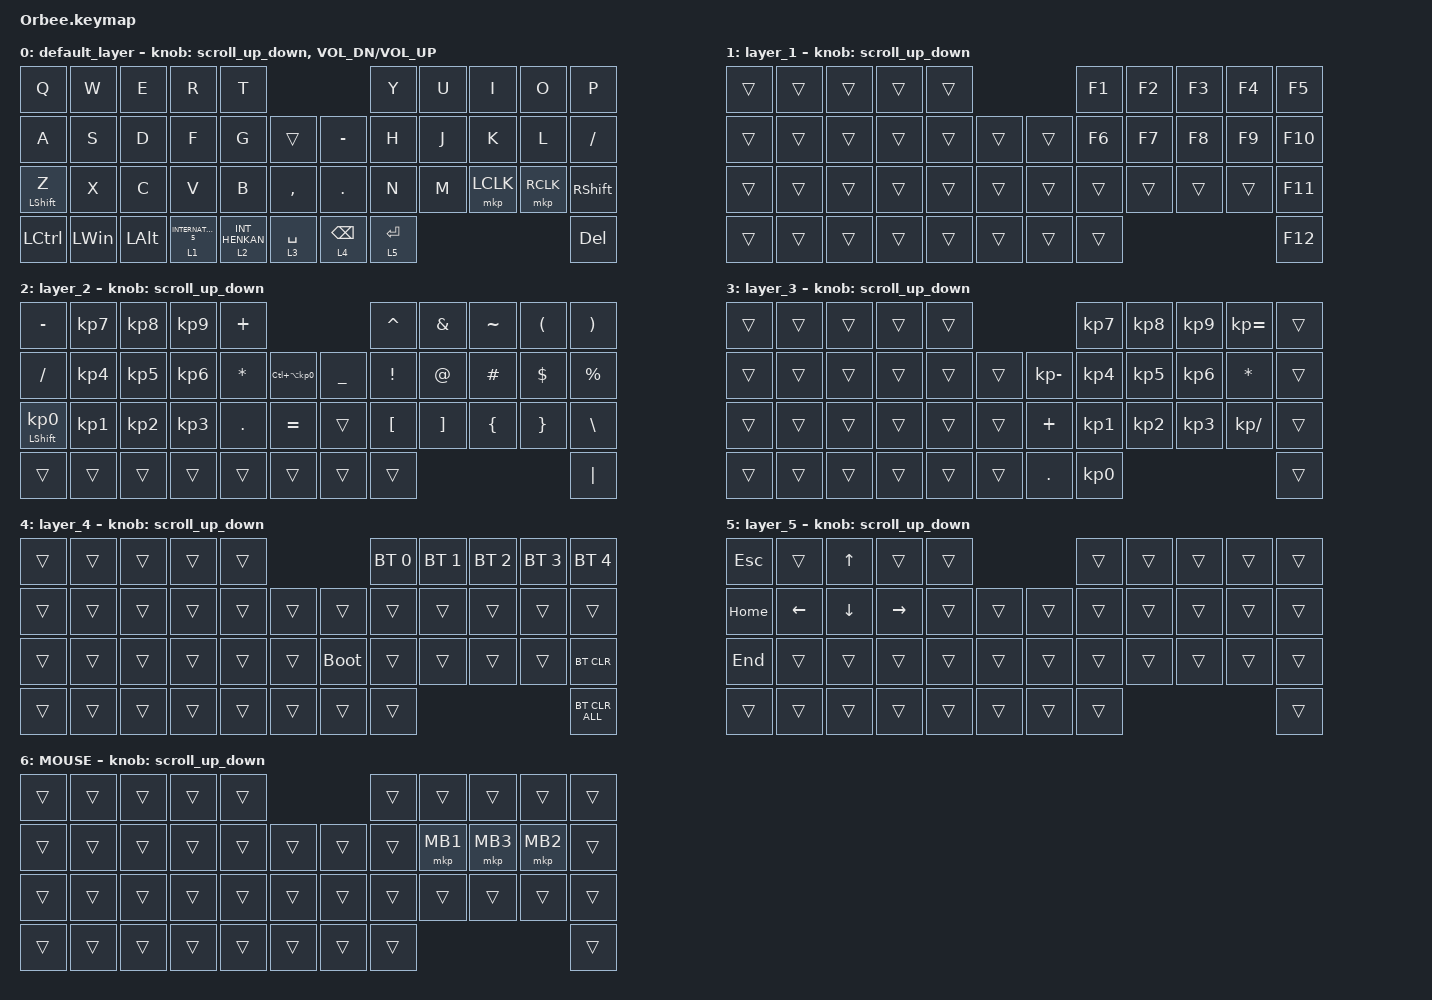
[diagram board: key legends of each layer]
#include <behaviors.dtsi>
#include <dt-bindings/zmk/bt.h>
#include <dt-bindings/zmk/keys.h>
#include <dt-bindings/zmk/pointing.h>

#define ZMK_POINTING_DEFAULT_SCRL_VAL 100
#define MOUSE 6

&mt {
    flavor = "balanced";
    quick-tap-ms = <0>;
};

/ {
    combos { compatible = "zmk,combos"; };

    macros {
        to_layer_0: to_layer_0 {
            compatible = "zmk,behavior-macro-one-param";
            #binding-cells = <1>;
            bindings = <&to 0 &macro_param_1to1 &kp MACRO_PLACEHOLDER>;
            label = "TO_LAYER_0";
        };
    };

    behaviors {
        touch_behavior_1: touch1 {
            compatible = "zmk,behavior-momentary";
            label = "TouchKey1";
            bindings = <&kp A>;
        };

        touch_behavior_2: touch2 {
            compatible = "zmk,behavior-momentary";
            label = "TouchKey2";
            bindings = <&kp B>;
        };

        touch_behavior_3: touch3 {
            compatible = "zmk,behavior-momentary";
            label = "TouchKey3";
            bindings = <&mo 1>;
        };

        lt_to_layer_0: lt_to_layer_0 {
            compatible = "zmk,behavior-hold-tap";
            label = "LAYER_TAP_TO_0";
            bindings = <&mo>, <&to_layer_0>;

            #binding-cells = <2>;
            tapping-term-ms = <200>;
        };

        scroll_up_down: behavior_sensor_rotate_mouse_wheel_up_down {
            compatible = "zmk,behavior-sensor-rotate";
            #sensor-binding-cells = <0>;
            bindings = <&msc SCRL_UP>, <&msc SCRL_DOWN>;

            tap-ms = <20>;
        };
    };

    keymap {
        compatible = "zmk,keymap";

        default_layer {
            bindings = <
&kp Q             &kp W         &kp E         &kp R                  &kp T                                             &kp Y        &kp U  &kp I      &kp O      &kp P
&kp A             &kp S         &kp D         &kp F                  &kp G             &trans         &kp MINUS        &kp H        &kp J  &kp K      &kp L      &kp FSLH
&mt LEFT_SHIFT Z  &kp X         &kp C         &kp V                  &kp B             &kp COMMA      &kp PERIOD       &kp N        &kp M  &mkp LCLK  &mkp RCLK  &kp RIGHT_SHIFT
&kp LCTRL         &kp LEFT_WIN  &kp LEFT_ALT  &lt 1 INTERNATIONAL_5  &lt 2 INT_HENKAN  &lt 3 SPACE    &lt 4 BACKSPACE  &lt 5 ENTER                               &kp DEL
            >;

            sensor-bindings =
                <&scroll_up_down>,
                <&inc_dec_kp C_VOL_DN C_VOL_UP>;
        };

        layer_1 {
            bindings = <
&trans  &trans  &trans  &trans  &trans                    &kp F1  &kp F2  &kp F3  &kp F4  &kp F5
&trans  &trans  &trans  &trans  &trans  &trans    &trans  &kp F6  &kp F7  &kp F8  &kp F9  &kp F10
&trans  &trans  &trans  &trans  &trans  &trans    &trans  &trans  &trans  &trans  &trans  &kp F11
&trans  &trans  &trans  &trans  &trans  &trans    &trans  &trans                          &kp F12
            >;

            sensor-bindings = <&scroll_up_down>;
        };

        layer_2 {
            bindings = <
&kp MINUS                   &kp KP_NUMBER_7  &kp KP_NUMBER_8  &kp KP_NUMBER_9  &kp PLUS                                                 &kp CARET         &kp AMPERSAND      &kp TILDE       &kp LEFT_PARENTHESIS  &kp RIGHT_PARENTHESIS
&kp SLASH                   &kp KP_NUMBER_4  &kp KP_NUMBER_5  &kp KP_NUMBER_6  &kp ASTERISK  &kp LC(LA(KP_NUMBER_0))    &kp UNDERSCORE  &kp EXCLAMATION   &kp AT_SIGN        &kp HASH        &kp DOLLAR            &kp PERCENT
&mt LEFT_SHIFT KP_NUMBER_0  &kp KP_NUMBER_1  &kp KP_NUMBER_2  &kp KP_NUMBER_3  &kp PERIOD    &kp EQUAL                  &trans          &kp LEFT_BRACKET  &kp RIGHT_BRACKET  &kp LEFT_BRACE  &kp RIGHT_BRACE       &kp BACKSLASH
&trans                      &trans           &trans           &trans           &trans        &trans                     &trans          &trans                                                                     &kp PIPE
            >;

            sensor-bindings = <&scroll_up_down>;
        };

        layer_3 {
            bindings = <
&trans  &trans  &trans  &trans  &trans                          &kp KP_NUMBER_7  &kp KP_NUMBER_8  &kp KP_NUMBER_9  &kp KP_EQUAL  &trans
&trans  &trans  &trans  &trans  &trans  &trans    &kp KP_MINUS  &kp KP_NUMBER_4  &kp KP_NUMBER_5  &kp KP_NUMBER_6  &kp ASTERISK  &trans
&trans  &trans  &trans  &trans  &trans  &trans    &kp PLUS      &kp KP_NUMBER_1  &kp KP_NUMBER_2  &kp KP_NUMBER_3  &kp KP_SLASH  &trans
&trans  &trans  &trans  &trans  &trans  &trans    &kp DOT       &kp KP_NUMBER_0                                                  &trans
            >;

            sensor-bindings = <&scroll_up_down>;
        };

        layer_4 {
            bindings = <
&trans  &trans  &trans  &trans  &trans                         &bt BT_SEL 0  &bt BT_SEL 1  &bt BT_SEL 2  &bt BT_SEL 3  &bt BT_SEL 4
&trans  &trans  &trans  &trans  &trans  &trans    &trans       &trans        &trans        &trans        &trans        &trans
&trans  &trans  &trans  &trans  &trans  &trans    &bootloader  &trans        &trans        &trans        &trans        &bt BT_CLR
&trans  &trans  &trans  &trans  &trans  &trans    &trans       &trans                                                  &bt BT_CLR_ALL
            >;

            sensor-bindings = <&scroll_up_down>;
        };

        layer_5 {
            bindings = <
&kp ESC   &trans    &kp UP_ARROW  &trans     &trans                    &trans  &trans  &trans  &trans  &trans
&kp HOME  &kp LEFT  &kp DOWN      &kp RIGHT  &trans  &trans    &trans  &trans  &trans  &trans  &trans  &trans
&kp END   &trans    &trans        &trans     &trans  &trans    &trans  &trans  &trans  &trans  &trans  &trans
&trans    &trans    &trans        &trans     &trans  &trans    &trans  &trans                          &trans
            >;

            sensor-bindings = <&scroll_up_down>;
        };

        MOUSE {
            bindings = <
&trans  &trans  &trans  &trans  &trans                    &trans  &trans    &trans    &trans    &trans
&trans  &trans  &trans  &trans  &trans  &trans    &trans  &trans  &mkp MB1  &mkp MB3  &mkp MB2  &trans
&trans  &trans  &trans  &trans  &trans  &trans    &trans  &trans  &trans    &trans    &trans    &trans
&trans  &trans  &trans  &trans  &trans  &trans    &trans  &trans                                &trans
            >;

            sensor-bindings = <&scroll_up_down>;
        };
    };
};
